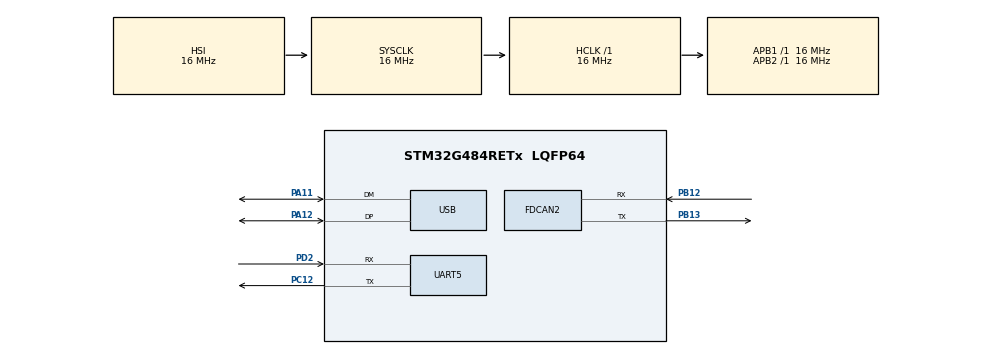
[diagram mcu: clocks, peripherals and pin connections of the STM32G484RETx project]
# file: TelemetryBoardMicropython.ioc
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FDCAN2.AutoRetransmission=ENABLE
FDCAN2.CalculateBaudRateNominal=1000000
FDCAN2.CalculateTimeBitNominal=1000
FDCAN2.CalculateTimeQuantumNominal=62.5
FDCAN2.NominalPrescaler=1
FDCAN2.NominalTimeSeg1=13
FDCAN2.NominalTimeSeg2=2
FDCAN2.StdFiltersNbr=28
Mcu.Family=STM32G4
Mcu.Name=STM32G484RETx
Mcu.Package=LQFP64
NVIC.FDCAN2_IT0_IRQn=true\:0\:0\:false\:false\:true\:true\:true\:true
NVIC.PriorityGroup=NVIC_PRIORITYGROUP_4
NVIC.UART5_IRQn=true\:0\:0\:false\:false\:true\:true\:true\:true
NVIC.USB_LP_IRQn=true\:0\:0\:false\:false\:true\:false\:true\:true
PA11.Mode=Device
PA11.Signal=USB_DM
PA12.Mode=Device
PA12.Signal=USB_DP
PA13.Mode=Serial_Wire
PA13.Signal=SYS_JTMS-SWDIO
PA14.Mode=Serial_Wire
PA14.Signal=SYS_JTCK-SWCLK
PB12.Mode=FDCAN_Activate
PB12.Signal=FDCAN2_RX
PB13.Mode=FDCAN_Activate
PB13.Signal=FDCAN2_TX
PC12.Mode=Asynchronous
PC12.Signal=UART5_TX
PD2.Mode=Asynchronous
PD2.Signal=UART5_RX
ProjectManager.HeapSize=0x200
ProjectManager.StackSize=0x400
ProjectManager.TargetToolchain=STM32CubeIDE
RCC.AHBFreq_Value=16000000
RCC.APB1Freq_Value=16000000
RCC.APB1TimFreq_Value=16000000
RCC.APB2Freq_Value=16000000
RCC.APB2TimFreq_Value=16000000
RCC.CortexFreq_Value=16000000
RCC.EXTERNAL_CLOCK_VALUE=12288000
RCC.HCLKFreq_Value=16000000
RCC.HSE_VALUE=8000000
RCC.HSI48_VALUE=48000000
RCC.HSI_VALUE=16000000
RCC.LSE_VALUE=32768
RCC.PLLN=12
RCC.PLLQ=RCC_PLLQ_DIV4
RCC.SYSCLKFreq_VALUE=16000000
RCC.USBFreq_Value=48000000
RCC.VCOOutputFreq_Value=192000000
USB_DEVICE.CLASS_NAME_FS=CDC
USB_DEVICE.VirtualMode=Cdc
USB_DEVICE.VirtualModeFS=Cdc_FS
VP_SYS_VS_DBSignals.Mode=DisableDeadBatterySignals
VP_USB_DEVICE_VS_USB_DEVICE_CDC_FS.Mode=CDC_FS
board=custom

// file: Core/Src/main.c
/* USER CODE BEGIN Header */
/**
  ******************************************************************************
  * @file           : main.c
  * @brief          : Main program body
  ******************************************************************************
  * @attention
  *
  * Copyright (c) 2026 STMicroelectronics.
  * All rights reserved.
  *
  * This software is licensed under terms that can be found in the LICENSE file
  * in the root directory of this software component.
  * If no LICENSE file comes with this software, it is provided AS-IS.
  *
  ******************************************************************************
  */
/* USER CODE END Header */

/* USER CODE BEGIN Includes */
#include "can.h"
#include "uart.h"
#include "main.h"
#include "usb_device.h"
/* USER CODE END Includes */

FDCAN_HandleTypeDef hfdcan2;

UART_HandleTypeDef huart5;

/* USER CODE BEGIN PV */
FDCAN_TxHeaderTypeDef TxHeader;

FDCAN_RxHeaderTypeDef RxHeader;

static uint8_t read_index = 0;
static char xbee_line[XBEE_LINE_MAX];
/* USER CODE END PV */

void SystemClock_Config(void);
static void MX_GPIO_Init(void);
static void MX_UART5_Init(void);
static void MX_FDCAN2_Init(void);

int main(void)
{

  /* MCU Configuration--------------------------------------------------------*/

  /* Reset of all peripherals, Initializes the Flash interface and the Systick. */
  HAL_Init();

  /* Configure the system clock */
  SystemClock_Config();

  /* Initialize all configured peripherals */
  MX_GPIO_Init();
  MX_UART5_Init();
  MX_FDCAN2_Init();
  MX_USB_Device_Init();
  /* USER CODE BEGIN 2 */
  HAL_Delay(2000);
  HAL_UARTEx_ReceiveToIdle_IT(&huart5, uart_rx, sizeof(uart_rx));
  /* USER CODE END 2 */

  /* Infinite loop */
  while (1)
  {

    /* USER CODE BEGIN 3 */

	  /* frames are put into MessageBuffer by the FDCAN interrupt (can.c) */
	  while (read_index != MessageBufferIndex)
	  {
		  CAN_Message *msg = &MessageBuffer[read_index++];

		  int len = CanMessageToXbee(msg, xbee_line);
		  if (len > 0)
			  HAL_UART_Transmit(&huart5, (uint8_t *)xbee_line, len, 100);
	  }
  }
  /* USER CODE END 3 */
}

void SystemClock_Config(void)
{
  RCC_OscInitTypeDef RCC_OscInitStruct = {0};
  RCC_ClkInitTypeDef RCC_ClkInitStruct = {0};

  /** Configure the main internal regulator output voltage
  */
  HAL_PWREx_ControlVoltageScaling(PWR_REGULATOR_VOLTAGE_SCALE1);

  /** Initializes the RCC Oscillators according to the specified parameters
  * in the RCC_OscInitTypeDef structure.
  */
  RCC_OscInitStruct.OscillatorType = RCC_OSCILLATORTYPE_HSI;
  RCC_OscInitStruct.HSIState = RCC_HSI_ON;
  RCC_OscInitStruct.HSICalibrationValue = RCC_HSICALIBRATION_DEFAULT;
  RCC_OscInitStruct.PLL.PLLState = RCC_PLL_ON;
  RCC_OscInitStruct.PLL.PLLSource = RCC_PLLSOURCE_HSI;
  RCC_OscInitStruct.PLL.PLLM = RCC_PLLM_DIV1;
  RCC_OscInitStruct.PLL.PLLN = 12;
  RCC_OscInitStruct.PLL.PLLP = RCC_PLLP_DIV2;
  RCC_OscInitStruct.PLL.PLLQ = RCC_PLLQ_DIV4;
  RCC_OscInitStruct.PLL.PLLR = RCC_PLLR_DIV2;
  if (HAL_RCC_OscConfig(&RCC_OscInitStruct) != HAL_OK)
  {
    Error_Handler();
  }

  /** Initializes the CPU, AHB and APB buses clocks
  */
  RCC_ClkInitStruct.ClockType = RCC_CLOCKTYPE_HCLK|RCC_CLOCKTYPE_SYSCLK
                              |RCC_CLOCKTYPE_PCLK1|RCC_CLOCKTYPE_PCLK2;
  RCC_ClkInitStruct.SYSCLKSource = RCC_SYSCLKSOURCE_HSI;
  RCC_ClkInitStruct.AHBCLKDivider = RCC_SYSCLK_DIV1;
  RCC_ClkInitStruct.APB1CLKDivider = RCC_HCLK_DIV1;
  RCC_ClkInitStruct.APB2CLKDivider = RCC_HCLK_DIV1;

  if (HAL_RCC_ClockConfig(&RCC_ClkInitStruct, FLASH_LATENCY_0) != HAL_OK)
  {
    Error_Handler();
  }
}

static void MX_FDCAN2_Init(void)
{

  hfdcan2.Instance = FDCAN2;
  hfdcan2.Init.ClockDivider = FDCAN_CLOCK_DIV1;
  hfdcan2.Init.FrameFormat = FDCAN_FRAME_CLASSIC;
  hfdcan2.Init.Mode = FDCAN_MODE_NORMAL;
  hfdcan2.Init.AutoRetransmission = ENABLE;
  hfdcan2.Init.TransmitPause = DISABLE;
  hfdcan2.Init.ProtocolException = DISABLE;
  hfdcan2.Init.NominalPrescaler = 1;
  hfdcan2.Init.NominalSyncJumpWidth = 1;
  hfdcan2.Init.NominalTimeSeg1 = 13;
  hfdcan2.Init.NominalTimeSeg2 = 2;
  hfdcan2.Init.DataPrescaler = 1;
  hfdcan2.Init.DataSyncJumpWidth = 1;
  hfdcan2.Init.DataTimeSeg1 = 1;
  hfdcan2.Init.DataTimeSeg2 = 1;
  hfdcan2.Init.StdFiltersNbr = 28;
  hfdcan2.Init.ExtFiltersNbr = 0;
  hfdcan2.Init.TxFifoQueueMode = FDCAN_TX_FIFO_OPERATION;
  if (HAL_FDCAN_Init(&hfdcan2) != HAL_OK)
  {
    Error_Handler();
  }
  /* USER CODE BEGIN FDCAN2_Init 2 */
  if (HAL_FDCAN_ConfigRxFifoOverwrite(&hfdcan2, FDCAN_RX_FIFO0, FDCAN_RX_FIFO_OVERWRITE) != HAL_OK)
    {
      Error_Handler();
    }
  if (HAL_FDCAN_ConfigRxFifoOverwrite(&hfdcan2, FDCAN_RX_FIFO1, FDCAN_RX_FIFO_OVERWRITE) != HAL_OK)
    {
      Error_Handler();
    }

  if(HAL_FDCAN_Start(&hfdcan2) != HAL_OK)
    {
      Error_Handler();
    }
  if(HAL_FDCAN_ActivateNotification(&hfdcan2, FDCAN_IT_RX_FIFO0_NEW_MESSAGE, 0) != HAL_OK)
    {
      Error_Handler();
    }

  TxHeader.Identifier = 0x123; // Modify this with your identifier
  TxHeader.IdType = FDCAN_STANDARD_ID;
  TxHeader.TxFrameType = FDCAN_DATA_FRAME;
  TxHeader.DataLength = FDCAN_DLC_BYTES_8;
  TxHeader.ErrorStateIndicator = FDCAN_ESI_ACTIVE;
  TxHeader.BitRateSwitch = FDCAN_BRS_OFF;
  TxHeader.FDFormat = FDCAN_CLASSIC_CAN;
  TxHeader.TxEventFifoControl = FDCAN_NO_TX_EVENTS;
  TxHeader.MessageMarker = 0;
  /* USER CODE END FDCAN2_Init 2 */

}

static void MX_UART5_Init(void)
{

  huart5.Instance = UART5;
  huart5.Init.BaudRate = 115200;
  huart5.Init.WordLength = UART_WORDLENGTH_8B;
  huart5.Init.StopBits = UART_STOPBITS_1;
  huart5.Init.Parity = UART_PARITY_NONE;
  huart5.Init.Mode = UART_MODE_TX_RX;
  huart5.Init.HwFlowCtl = UART_HWCONTROL_NONE;
  huart5.Init.OverSampling = UART_OVERSAMPLING_16;
  huart5.Init.OneBitSampling = UART_ONE_BIT_SAMPLE_DISABLE;
  huart5.Init.ClockPrescaler = UART_PRESCALER_DIV1;
  huart5.AdvancedInit.AdvFeatureInit = UART_ADVFEATURE_NO_INIT;
  if (HAL_UART_Init(&huart5) != HAL_OK)
  {
    Error_Handler();
  }
  if (HAL_UARTEx_SetTxFifoThreshold(&huart5, UART_TXFIFO_THRESHOLD_1_8) != HAL_OK)
  {
    Error_Handler();
  }
  if (HAL_UARTEx_SetRxFifoThreshold(&huart5, UART_RXFIFO_THRESHOLD_1_8) != HAL_OK)
  {
    Error_Handler();
  }
  if (HAL_UARTEx_DisableFifoMode(&huart5) != HAL_OK)
  {
    Error_Handler();
  }

}

static void MX_GPIO_Init(void)
{

  /* GPIO Ports Clock Enable */
  __HAL_RCC_GPIOB_CLK_ENABLE();
  __HAL_RCC_GPIOA_CLK_ENABLE();
  __HAL_RCC_GPIOC_CLK_ENABLE();
  __HAL_RCC_GPIOD_CLK_ENABLE();

}

void Error_Handler(void)
{
  __disable_irq();
  while (1)
  {
  }
}
